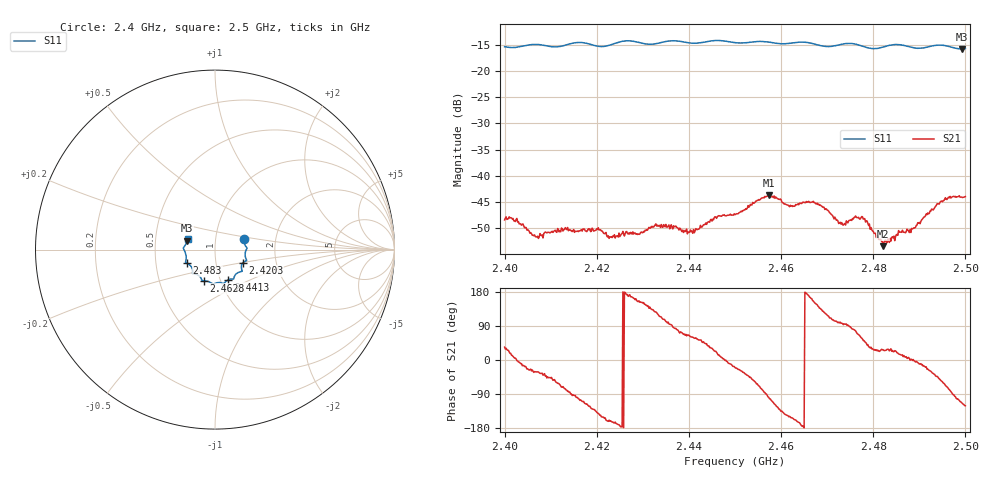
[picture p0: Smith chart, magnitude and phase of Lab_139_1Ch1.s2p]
# Hz S RI R 50
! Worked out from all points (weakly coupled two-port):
!   601 points, 2.4 GHz to 2.5 GHz, reference 50 ohm
!   highest |S21| = -43.69 dB at 2.4573 GHz (marker M1); lowest = -53.4 dB at 2.4822 GHz (marker M2)
!   lowest |S11| = -15.8 dB at 2.4993 GHz (marker M3), VSWR 1.39, Z = 36.5 + j3.72 ohm
!   |S11| at or under -10 dB: start of sweep to end of sweep
!   S12 and S22 are empty: the file has one direction only
!   S11 on the Smith chart (normalised r, x): 2.4 GHz: 1.37, +0.16; 2.4203 GHz: 1.35, -0.21; 2.4413 GHz: 1.09, -0.38; 2.4628 GHz: 0.83, -0.30; 2.483 GHz: 0.72, -0.11; 2.5 GHz: 0.73, +0.09
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2.4e9  0.1603 0.0571  0.00316 0.00213  0 0  0 0
2.403e9  0.167 0.0258  0.00366 -0.000326  0 0  0 0
2.407e9  0.1786 0.00766  0.00225 -0.00136  0 0  0 0
2.416667e9  0.1761 -0.0615  -0.000911 -0.00294  0 0  0 0
2.420333e9  0.1552 -0.0738  -0.00249 -0.00202  0 0  0 0
2.423167e9  0.1469 -0.1007  -0.00252 -0.000805  0 0  0 0
2.433333e9  0.1081 -0.1485  -0.00164 0.00288  0 0  0 0
2.441333e9  0.0742 -0.1679  0.00162 0.00251  0 0  0 0
2.446e9  0.0498 -0.1885  0.0037 0.00136  0 0  0 0
2.45e9  0.0292 -0.1837  0.00402 -0.00146  0 0  0 0
2.457333e9  -0.0183 -0.1874  -0.000977 -0.00647  0 0  0 0
2.462833e9  -0.063 -0.1748  -0.00473 -0.00201  0 0  0 0
2.466667e9  -0.0744 -0.1674  -0.00535 0.00175  0 0  0 0
2.473e9  -0.1178 -0.1344  -0.00042 0.00346  0 0  0 0
2.478e9  -0.1245 -0.1165  0.00245 0.00307  0 0  0 0
2.482167e9  -0.1487 -0.0801  0.00191 0.000977  0 0  0 0
2.483e9  -0.155 -0.0766  0.00204 0.00109  0 0  0 0
2.483333e9  -0.1572 -0.0757  0.00221 0.00117  0 0  0 0
2.488667e9  -0.1603 -0.0449  0.00316 6.77e-05  0 0  0 0
2.495167e9  -0.1753 0.0114  0.00287 -0.00504  0 0  0 0
2.499333e9  -0.1543 0.0496  -0.00257 -0.00567  0 0  0 0
2.5e9  -0.1527 0.0586  -0.00325 -0.00546  0 0  0 0
